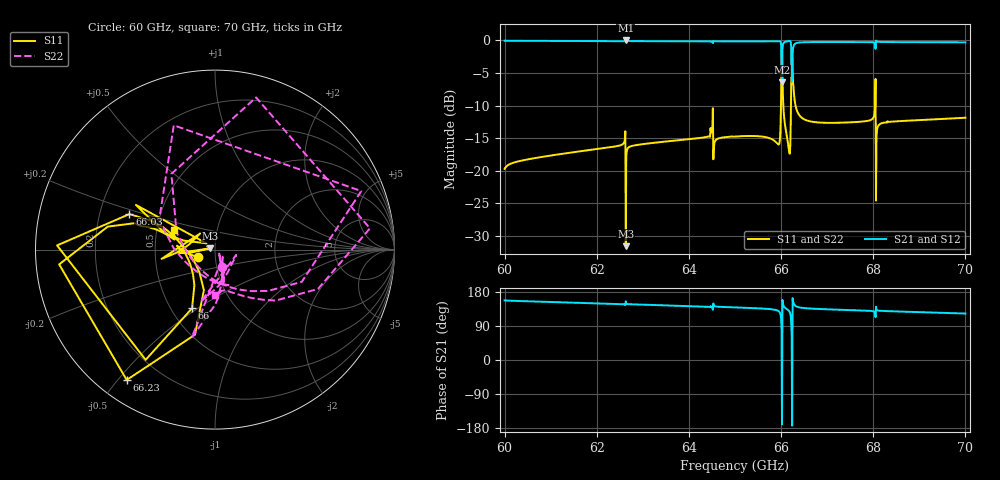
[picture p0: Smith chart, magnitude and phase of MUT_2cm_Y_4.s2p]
! TOUCHSTONE file generated by CST MICROWAVE STUDIO
! Date and time: Tue Feb 27 23:06:34 2024
! Project name: material_angular.cst
! Parameters = {Yi=4; iiii=5; exis2=5; exis=5; X=5; Z=5; Y=2}
! Header version: 2018
! Port assignment regex: !\s*Touchstone port\s*([0-9]+)\s*=\s*(CST MWS port|CST DS port)\s*([0-9]+|Zmin|Zmax)\s*\(\"(.*)\"\)(\s*mode\s*([0-9]+))?.*
! Touchstone port assignment:
! Touchstone port 1 = CST MWS port 1 ("")
! Touchstone port 2 = CST MWS port 2 ("")
# GHz S MA R 376.7
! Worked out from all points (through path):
!   1001 points, 60 GHz to 70 GHz, reference 376.7 ohm
!   highest |S21| = 0.00 dB at 62.63 GHz (marker M1); lowest = -6.5 dB at 66.02 GHz (marker M2)
!   lowest |S11| = -31.6 dB at 62.63 GHz (marker M3), VSWR 1.05, Z = 358 + j5.19 ohm
!   |S11| at or under -10 dB: start of sweep to 66 GHz; 66.31 GHz to 68.04 GHz (1.727 GHz wide, 2.57 % of centre); 68.05 GHz to end of sweep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
!   |S22| runs from -31.6 to -1.1 dB; largest |S21 - S12| = 0.005
!   S11 on the Smith chart (normalised r, x): 60 GHz: 0.82, -0.07; 66 GHz: 0.64, -0.47; 66.03 GHz: 0.33, +0.18; 66.23 GHz: 0.08, -0.53; 70 GHz: 0.61, +0.14
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60  0.1032 -156.7  0.9948 157.4  0.9948 157.4  0.103 -68.3
61.67  0.1411 -169.3  0.99 150.7  0.99 150.7  0.1411 -69.3
62.63  0.02625 164.0  0.9997 155.0  0.9997 155.0  0.02625 -34.1
63.34  0.1649 -176.2  0.9863 144.8  0.9863 144.8  0.1649 -74.2
65  0.1826 178.2  0.9836 138.8  0.9833 138.8  0.1829 -80.5
65.92  0.1609 -165.2  0.987 130.7  0.987 130.7  0.1609 -113.4
65.96  0.1608 -149.1  0.987 127.4  0.987 127.4  0.1608 -136.2
66  0.3511 -111.4  0.9362 110.3  0.9366 110.3  0.3521 152.0
66.02  0.8801 178.5  0.4752 -170.0  0.4705 -170.2  0.8779 21.8
66.03  0.516 157.4  0.8566 158.5  0.8566 158.5  0.516 -20.4
66.07  0.2482 161.3  0.9687 139.8  0.9687 139.8  0.2482 -61.7
66.15  0.1624 179.9  0.9863 132.3  0.9865 132.3  0.1634 -95.0
66.19  0.1345 -144.3  0.9907 125.7  0.9909 125.8  0.1347 -144.0
66.23  0.8772 -124.1  0.4817 65.2  0.4819 65.2  0.878 74.9
66.27  0.4424 162.5  0.8968 151.2  0.8968 151.2  0.4424 -40.0
66.3  0.3362 161.3  0.9417 144.1  0.9418 144.1  0.3362 -53.1
66.39  0.2684 163.6  0.9633 139.1  0.9633 139.1  0.2684 -65.5
66.67  0.2374 166.0  0.9714 135.6  0.9714 135.6  0.2374 -74.8
68  0.254 162.8  0.9672 128.8  0.9672 128.8  0.254 -85.1
68.11  0.2211 163.3  0.9752 130.4  0.9752 130.4  0.221 -82.4
68.34  0.2368 162.2  0.9718 128.8  0.9717 128.8  0.2362 -84.5
70  0.2548 154.7  0.9671 122.6  0.9672 122.6  0.2547 -89.6
